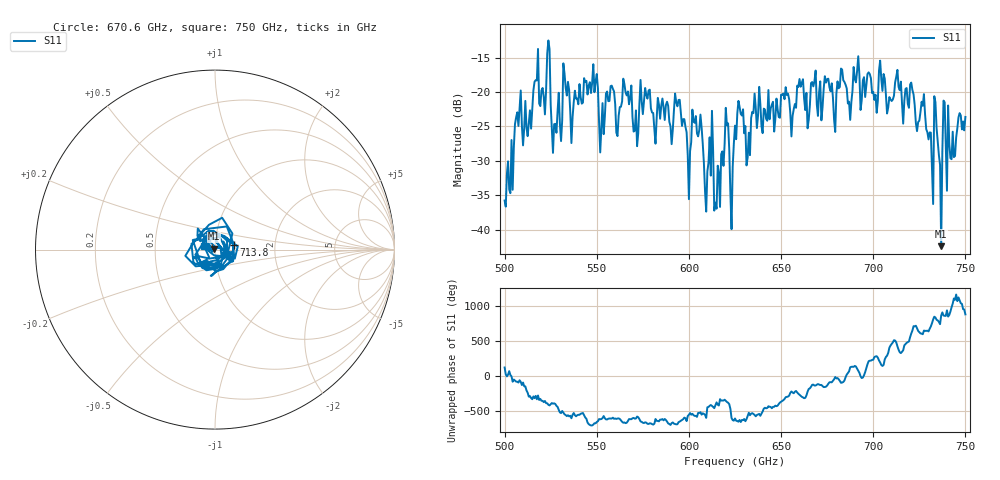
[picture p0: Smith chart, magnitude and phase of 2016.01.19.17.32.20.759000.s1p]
!Created with skrf (http://scikit-rf.org).
# GHz S RI R 50.0
!freq ReS11 ImS11
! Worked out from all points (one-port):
!   401 points, 500 GHz to 750 GHz, reference 50 ohm
!   lowest |S11| = -42.4 dB at 736.9 GHz (marker M1), VSWR 1.02, Z = 49.4 + j0.423 ohm
!   |S11| at or under -10 dB: start of sweep to end of sweep
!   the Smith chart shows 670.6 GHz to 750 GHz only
!   S11 on the Smith chart (normalised r, x): 670.6 GHz: 0.88, -0.15; 713.8 GHz: 1.23, +0.07; 750 GHz: 0.88, +0.04
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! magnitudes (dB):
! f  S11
! 500 GHz  -35.8
! 507.5 GHz  -24.9
! 513.1 GHz  -24.6
! 516.9 GHz  -18.3
! 523.8 GHz  -12.5
! 526.9 GHz  -24.7
! 531.2 GHz  -24.1
! 548.8 GHz  -20.0
! 552.5 GHz  -25.1
! 562.5 GHz  -22.2
! 593.8 GHz  -22.1
! 600 GHz  -35.6
! 603.1 GHz  -24.5
! 609.4 GHz  -37.4
! 611.9 GHz  -32.2
! 615 GHz  -37.0
! 620 GHz  -22.3
! 623.1 GHz  -39.9
! 625 GHz  -24.9
! 656.2 GHz  -23.5
! 670.6 GHz  -20.0
! 687.5 GHz  -24.1
! 690.6 GHz  -18.6
! 713.8 GHz  -19.3
! 718.8 GHz  -21.7
! 734.4 GHz  -25.3
! 736.9 GHz  -42.4
! 750 GHz  -23.6
